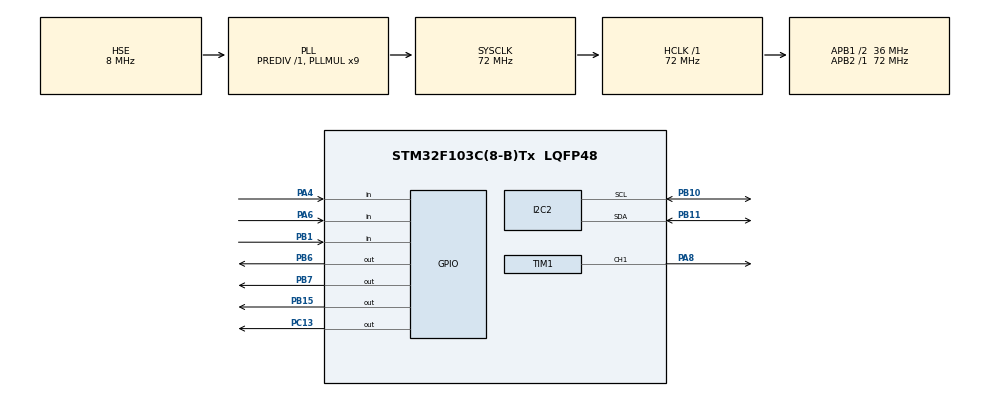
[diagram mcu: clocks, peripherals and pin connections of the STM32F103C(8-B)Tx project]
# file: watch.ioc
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FREERTOS.Tasks01=defaultTask,0,128,StartDefaultTask,Default,NULL,Dynamic,NULL,NULL
I2C2.I2C_Mode=I2C_Fast
Mcu.Family=STM32F1
Mcu.Name=STM32F103C(8-B)Tx
Mcu.Package=LQFP48
NVIC.PriorityGroup=NVIC_PRIORITYGROUP_4
NVIC.TIM2_IRQn=true\:5\:0\:false\:false\:true\:true\:true\:true\:true
NVIC.TIM3_IRQn=true\:5\:0\:false\:false\:true\:true\:true\:true\:true
PA13.Mode=Serial_Wire
PA13.Signal=SYS_JTMS-SWDIO
PA14.Mode=Serial_Wire
PA14.Signal=SYS_JTCK-SWCLK
PA4.GPIO_PuPd=GPIO_PULLUP
PA4.Signal=GPIO_Input
PA6.GPIO_PuPd=GPIO_PULLUP
PA6.Signal=GPIO_Input
PA8.Signal=S_TIM1_CH1
PB1.GPIO_PuPd=GPIO_PULLUP
PB1.Signal=GPIO_Input
PB10.Mode=I2C
PB10.Signal=I2C2_SCL
PB11.Mode=I2C
PB11.Signal=I2C2_SDA
PB15.Signal=GPIO_Output
PB6.GPIO_ModeDefaultOutputPP=GPIO_MODE_OUTPUT_OD
PB6.GPIO_PuPd=GPIO_NOPULL
PB6.GPIO_Speed=GPIO_SPEED_FREQ_HIGH
PB6.PinState=GPIO_PIN_RESET
PB6.Signal=GPIO_Output
PB7.GPIO_ModeDefaultOutputPP=GPIO_MODE_OUTPUT_OD
PB7.GPIO_PuPd=GPIO_NOPULL
PB7.GPIO_Speed=GPIO_SPEED_FREQ_HIGH
PB7.PinState=GPIO_PIN_RESET
PB7.Signal=GPIO_Output
PC13-TAMPER-RTC.Signal=GPIO_Output
PC14-OSC32_IN.Mode=LSE-External-Oscillator
PC14-OSC32_IN.Signal=RCC_OSC32_IN
PC15-OSC32_OUT.Mode=LSE-External-Oscillator
PC15-OSC32_OUT.Signal=RCC_OSC32_OUT
PD0-OSC_IN.Mode=HSE-External-Oscillator
PD0-OSC_IN.Signal=RCC_OSC_IN
PD1-OSC_OUT.Mode=HSE-External-Oscillator
PD1-OSC_OUT.Signal=RCC_OSC_OUT
ProjectManager.HeapSize=0x200
ProjectManager.StackSize=0x400
ProjectManager.TargetToolchain=MDK-ARM V5.32
RCC.AHBFreq_Value=72000000
RCC.APB1CLKDivider=RCC_HCLK_DIV2
RCC.APB1Freq_Value=36000000
RCC.APB1TimFreq_Value=72000000
RCC.APB2Freq_Value=72000000
RCC.APB2TimFreq_Value=72000000
RCC.HCLKFreq_Value=72000000
RCC.PLLMUL=RCC_PLL_MUL9
RCC.PLLSourceVirtual=RCC_PLLSOURCE_HSE
RCC.RTCClockSelection=RCC_RTCCLKSOURCE_LSE
RCC.SYSCLKFreq_VALUE=72000000
RCC.SYSCLKSource=RCC_SYSCLKSOURCE_PLLCLK
RCC.USBFreq_Value=72000000
SH.S_TIM1_CH1.0=TIM1_CH1,PWM Generation1 CH1
TIM1.Channel-PWM\ Generation1\ CH1=TIM_CHANNEL_1
TIM1.Period=1000-1
TIM1.Prescaler=72-1
TIM2.Period=1000-1
TIM2.Prescaler=720-1
TIM3.Period=1000-1
TIM3.Prescaler=72-1
VP_FREERTOS_VS_CMSIS_V1.Mode=CMSIS_V1
VP_RTC_VS_RTC_Activate.Mode=RTC_Enabled
VP_RTC_VS_RTC_Calendar.Mode=RTC_Calendar
VP_TIM1_VS_ClockSourceINT.Mode=Internal
VP_TIM2_VS_ClockSourceINT.Mode=Internal
VP_TIM3_VS_ClockSourceINT.Mode=Internal
board=custom

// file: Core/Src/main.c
/* USER CODE BEGIN Header */
/**
 ******************************************************************************
 * @file           : main.c
 * @brief          : Main program body
 ******************************************************************************
 * @attention
 *
 * Copyright (c) 2026 STMicroelectronics.
 * All rights reserved.
 *
 * This software is licensed under terms that can be found in the LICENSE file
 * in the root directory of this software component.
 * If no LICENSE file comes with this software, it is provided AS-IS.
 *
 ******************************************************************************
 */
/* USER CODE END Header */
#include "main.h"
#include "cmsis_os.h"
#include "i2c.h"
#include "rtc.h"
#include "tim.h"
#include "gpio.h"

/* USER CODE BEGIN Includes */
#include "menu.h"
#include "oled.h"
#include "font.h"
#include "dht11.h"
#include "delay.h"
#include "key.h"
#include "myi2c.h"
#include "mpu6050.h"
#include "FreeRTOS_demo.h"
#include "FreeRTOSConfig.h"

#define MPU6050_ADDRESS 0xD0
/* USER CODE END Includes */

/* USER CODE BEGIN PD */
extern uint8_t select_flag;
/* USER CODE END PD */

void SystemClock_Config(void);
void MX_FREERTOS_Init(void);

int main(void)
{

  /* MCU Configuration--------------------------------------------------------*/

  /* Reset of all peripherals, Initializes the Flash interface and the Systick. */
  HAL_Init();

  /* Configure the system clock */
  SystemClock_Config();

  /* Initialize all configured peripherals */
  MX_GPIO_Init();
  MX_RTC_Init();
  MX_TIM1_Init();
  MX_TIM2_Init();
  MX_TIM3_Init();
  MX_I2C2_Init();
  /* USER CODE BEGIN 2 */
  HAL_TIM_Base_Start_IT(&htim2);
  HAL_TIM_Base_Start_IT(&htim3);
  HAL_TIM_PWM_Start(&htim1,TIM_CHANNEL_1);
  delay_init();
  OLED_Init();
  OLED_Clear();
  menu_init();
  /* USER CODE END 2 */

  /* Call init function for freertos objects (in cmsis_os2.c) */
  // MX_FREERTOS_Init();

  // /* Start scheduler */
  // osKernelStart();

  /* We should never get here as control is now taken by the scheduler */

  /* Infinite loop */
  /* USER CODE BEGIN WHILE */

	HAL_GPIO_WritePin(GPIOC,GPIO_PIN_13,GPIO_PIN_SET);
	freertos_start();
  while (1)
  {
		// Key_Task();
		// UI_Task();
		// Sensor_Task();
		// Led_Task();
    /* USER CODE END WHILE */

  }
}

void SystemClock_Config(void)
{
  RCC_OscInitTypeDef RCC_OscInitStruct = {0};
  RCC_ClkInitTypeDef RCC_ClkInitStruct = {0};
  RCC_PeriphCLKInitTypeDef PeriphClkInit = {0};

  /** Initializes the RCC Oscillators according to the specified parameters
  * in the RCC_OscInitTypeDef structure.
  */
  RCC_OscInitStruct.OscillatorType = RCC_OSCILLATORTYPE_HSE|RCC_OSCILLATORTYPE_LSE;
  RCC_OscInitStruct.HSEState = RCC_HSE_ON;
  RCC_OscInitStruct.HSEPredivValue = RCC_HSE_PREDIV_DIV1;
  RCC_OscInitStruct.LSEState = RCC_LSE_ON;
  RCC_OscInitStruct.HSIState = RCC_HSI_ON;
  RCC_OscInitStruct.PLL.PLLState = RCC_PLL_ON;
  RCC_OscInitStruct.PLL.PLLSource = RCC_PLLSOURCE_HSE;
  RCC_OscInitStruct.PLL.PLLMUL = RCC_PLL_MUL9;
  if (HAL_RCC_OscConfig(&RCC_OscInitStruct) != HAL_OK)
  {
    Error_Handler();
  }

  /** Initializes the CPU, AHB and APB buses clocks
  */
  RCC_ClkInitStruct.ClockType = RCC_CLOCKTYPE_HCLK|RCC_CLOCKTYPE_SYSCLK
                              |RCC_CLOCKTYPE_PCLK1|RCC_CLOCKTYPE_PCLK2;
  RCC_ClkInitStruct.SYSCLKSource = RCC_SYSCLKSOURCE_PLLCLK;
  RCC_ClkInitStruct.AHBCLKDivider = RCC_SYSCLK_DIV1;
  RCC_ClkInitStruct.APB1CLKDivider = RCC_HCLK_DIV2;
  RCC_ClkInitStruct.APB2CLKDivider = RCC_HCLK_DIV1;

  if (HAL_RCC_ClockConfig(&RCC_ClkInitStruct, FLASH_LATENCY_2) != HAL_OK)
  {
    Error_Handler();
  }
  PeriphClkInit.PeriphClockSelection = RCC_PERIPHCLK_RTC;
  PeriphClkInit.RTCClockSelection = RCC_RTCCLKSOURCE_LSE;
  if (HAL_RCCEx_PeriphCLKConfig(&PeriphClkInit) != HAL_OK)
  {
    Error_Handler();
  }
}

void Error_Handler(void)
{
  __disable_irq();
  while (1)
  {
  }
}
